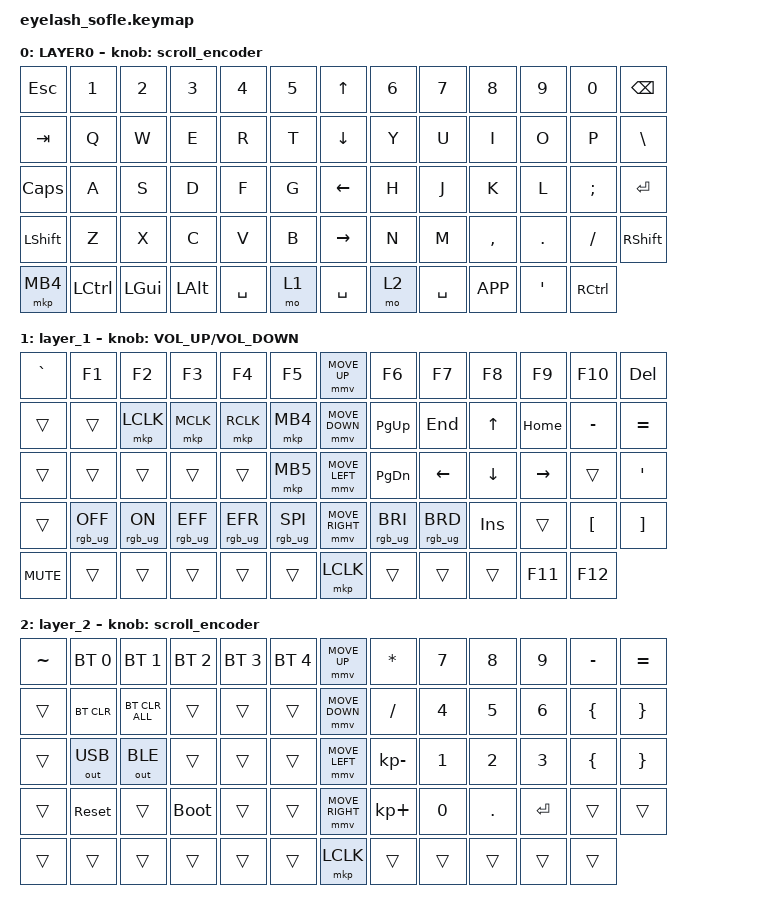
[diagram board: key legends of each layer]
#define ZMK_POINTING_DEFAULT_MOVE_VAL 1200  // 600
#define ZMK_POINTING_DEFAULT_SCRL_VAL 25   // 10

#include <input/processors.dtsi>
#include <zephyr/dt-bindings/input/input-event-codes.h>
#include <behaviors.dtsi>
#include <dt-bindings/zmk/bt.h>
#include <dt-bindings/zmk/keys.h>
#include <dt-bindings/zmk/outputs.h>
#include <dt-bindings/zmk/pointing.h>
#include <dt-bindings/zmk/rgb.h>

&mmv_input_listener { input-processors = <&zip_xy_scaler 2 1>; };

&msc_input_listener { input-processors = <&zip_scroll_scaler 2 1>; };

&msc {
    acceleration-exponent = <1>;      // 0
    time-to-max-speed-ms = <100>;       // 300
    delay-ms = <0>;                   // 0
};

&mmv {
    time-to-max-speed-ms = <500>;
    acceleration-exponent = <1>;
    trigger-period-ms = <16>;
};

/ {
    scroll_encoder: scroll_encoder {
        compatible = "zmk,behavior-sensor-rotate";
        #sensor-binding-cells = <0>;
        bindings = <&msc SCRL_DOWN>, <&msc SCRL_UP>;

        tap-ms = <100>;
    };

    behaviors {
    };

    keymap {
        compatible = "zmk,keymap";

        layer0 {
            bindings = <
&kp ESC    &kp N1     &kp N2        &kp N3        &kp N4     &kp N5    &kp UP_ARROW     &kp N6  &kp N7     &kp N8     &kp N9   &kp N0             &kp BACKSPACE
&kp TAB    &kp Q      &kp W         &kp E         &kp R      &kp T     &kp DOWN_ARROW   &kp Y   &kp U      &kp I      &kp O    &kp P              &kp BSLH
&kp CAPS   &kp A      &kp S         &kp D         &kp F      &kp G     &kp LEFT_ARROW   &kp H   &kp J      &kp K      &kp L    &kp SEMI           &kp ENTER
&kp LSHFT  &kp Z      &kp X         &kp C         &kp V      &kp B     &kp RIGHT_ARROW  &kp N   &kp M      &kp COMMA  &kp DOT  &kp FSLH           &kp RIGHT_SHIFT
&mkp MB4   &kp LCTRL  &kp LEFT_GUI  &kp LEFT_ALT  &kp SPACE  &mo 1     &kp SPACE        &mo 2   &kp SPACE  &kp K_APP  &kp SQT  &kp RIGHT_CONTROL
            >;

            sensor-bindings = <&scroll_encoder>;
            display-name = "LAYER0";
        };

        layer_1 {
            bindings = <
&kp GRAVE   &kp F1           &kp F2          &kp F3           &kp F4           &kp F5             &mmv MOVE_UP     &kp F6           &kp F7           &kp F8      &kp F9     &kp F10           &kp DELETE
&trans      &trans           &mkp LCLK       &mkp MCLK        &mkp RCLK        &mkp MB4           &mmv MOVE_DOWN   &kp PG_UP        &kp END          &kp UP      &kp HOME   &kp MINUS         &kp EQUAL
&trans      &trans           &trans          &trans           &trans           &mkp MB5           &mmv MOVE_LEFT   &kp PG_DN        &kp LEFT         &kp DOWN    &kp RIGHT  &trans            &kp SQT
&trans      &rgb_ug RGB_OFF  &rgb_ug RGB_ON  &rgb_ug RGB_EFF  &rgb_ug RGB_EFR  &rgb_ug RGB_SPI    &mmv MOVE_RIGHT  &rgb_ug RGB_BRI  &rgb_ug RGB_BRD  &kp INSERT  &trans     &kp LEFT_BRACKET  &kp RIGHT_BRACKET
&kp C_MUTE  &trans           &trans          &trans           &trans           &trans             &mkp LCLK        &trans           &trans           &trans      &kp F11    &kp F12
            >;

            display-name = "layer_1";
            sensor-bindings = <&inc_dec_kp C_VOLUME_UP C_VOLUME_DOWN>;
        };

        layer_2 {
            bindings = <
&kp TILDE  &bt BT_SEL 0  &bt BT_SEL 1    &bt BT_SEL 2  &bt BT_SEL 3  &bt BT_SEL 4    &mmv MOVE_UP     &kp ASTERISK  &kp NUMBER_7  &kp NUMBER_8  &kp NUMBER_9  &kp MINUS       &kp EQUAL
&trans     &bt BT_CLR    &bt BT_CLR_ALL  &trans        &trans        &trans          &mmv MOVE_DOWN   &kp SLASH     &kp NUMBER_4  &kp NUMBER_5  &kp NUMBER_6  &kp LEFT_BRACE  &kp RIGHT_BRACE
&trans     &out OUT_USB  &out OUT_BLE    &trans        &trans        &trans          &mmv MOVE_LEFT   &kp KP_MINUS  &kp NUMBER_1  &kp NUMBER_2  &kp NUMBER_3  &kp LEFT_BRACE  &kp RIGHT_BRACE
&trans     &sys_reset    &trans          &bootloader   &trans        &trans          &mmv MOVE_RIGHT  &kp KP_PLUS   &kp NUMBER_0  &kp DOT       &kp ENTER     &trans          &trans
&trans     &trans        &trans          &trans        &trans        &trans          &mkp LCLK        &trans        &trans        &trans        &trans        &trans
            >;

            sensor-bindings = <&scroll_encoder>;
        };
    };
};
